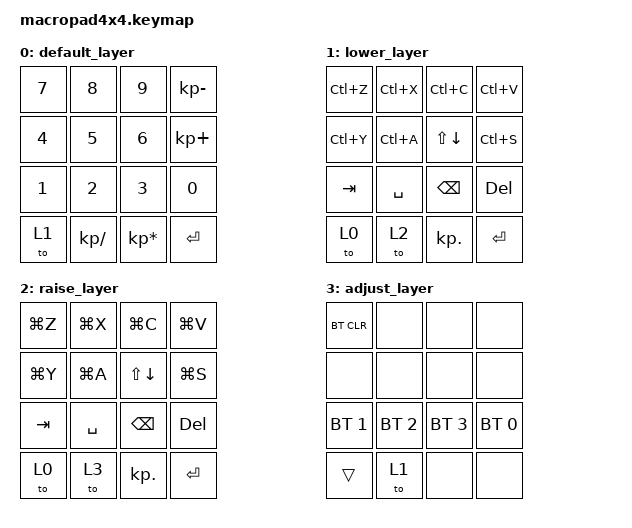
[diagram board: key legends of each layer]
/*
 * Copyright (c) 2020 The ZMK Contributors
 *
 * SPDX-License-Identifier: MIT
 */

#include <behaviors.dtsi>
#include <dt-bindings/zmk/keys.h>
#include <dt-bindings/zmk/bt.h>

/ {
    keymap {
        compatible = "zmk,keymap";

        default_layer {

            bindings = <
                &kp N7 &kp N8         &kp N9           &kp KP_MINUS
                &kp N4 &kp N5         &kp N6           &kp KP_PLUS
                &kp N1 &kp N2         &kp N3           &kp N0
                &to 1  &kp KP_DIVIDE  &kp KP_MULTIPLY  &kp ENTER
            >;

        };
        lower_layer {

            bindings = <
                &kp LC(Z) &kp LC(X) &kp LC(C)      &kp LC(V)
                &kp LC(Y) &kp LC(A) &kp LS(DOWN)   &kp LC(S)
                &kp TAB   &kp SPACE &kp BACKSPACE  &kp DELETE 
                &to 0     &to 2     &kp KP_DOT     &kp ENTER
            >;

        };
        raise_layer {

            bindings = <
                &kp LG(Z) &kp LG(X) &kp LG(C)      &kp LG(V)
                &kp LG(Y) &kp LG(A) &kp LS(DOWN)   &kp LG(S)
                &kp TAB   &kp SPACE &kp BACKSPACE  &kp DELETE 
                &to 0    &to 3     &kp KP_DOT      &kp ENTER
            >;

        };
        adjust_layer {
            bindings = <
                &bt BT_CLR   &none        &none        &none
                &none        &none        &none        &none
                &bt BT_SEL 1 &bt BT_SEL 2 &bt BT_SEL 3 &bt BT_SEL 0
                &trans       &to 1        &none        &none
            >;

        };
    };
};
